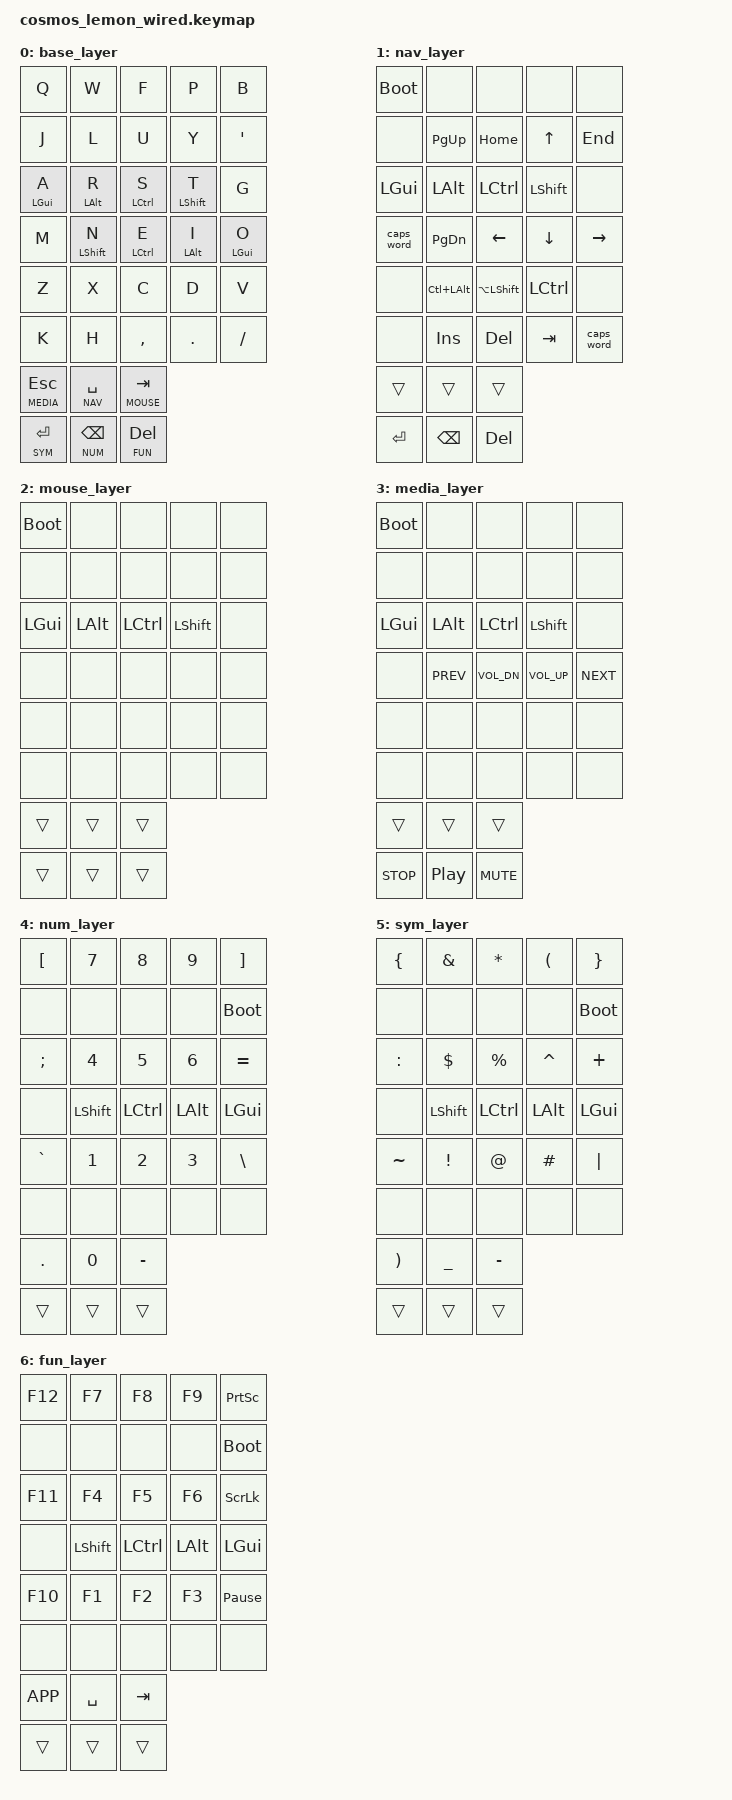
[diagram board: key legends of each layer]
/*
 * Copyright (c) 2026 The ZMK Contributors
 * SPDX-License-Identifier: MIT
 *
 * Miryoku COLEMAK-DH keymap for the 36-key Cosmos Lemon Wired.
 *
 * Key positions (see cosmos_lemon_wired.dtsi transform):
 *   0–4   left top    (Q W F P B)
 *   5–9   right top   (J L U Y ')
 *   10–14 left home   (A R S T G, with HRMs)
 *   15–19 right home  (M N E I O, with HRMs)
 *   20–24 left bottom (Z X C D V)
 *   25–29 right bottom(K H , . /)
 *   30–32 left thumbs (outer→inner: ESC SPC TAB)
 *   33–35 right thumbs(inner→outer: RET BSPC DEL)
 *
 * Home-row mods (GACS / SCAG, both using left modifier keycodes):
 *   Left : LGUI A  LALT R  LCTRL S  LSHFT T   G
 *   Right: M       LSHFT N LCTRL E  LALT I    LGUI O
 */

#include <behaviors.dtsi>
#include <dt-bindings/zmk/keys.h>

#define BASE  0
#define NAV   1
#define MOUSE 2
#define MEDIA 3
#define NUM   4
#define SYM   5
#define FUN   6

/ {
    keymap {
        compatible = "zmk,keymap";

        base_layer {
            bindings = <
                &kp Q        &kp W        &kp F        &kp P        &kp B
                &kp J        &kp L        &kp U        &kp Y        &kp SQT
                &mt LGUI A   &mt LALT R   &mt LCTRL S  &mt LSHFT T  &kp G
                &kp M        &mt LSHFT N  &mt LCTRL E  &mt LALT I   &mt LGUI O
                &kp Z        &kp X        &kp C        &kp D        &kp V
                &kp K        &kp H        &kp COMMA    &kp DOT      &kp FSLH
                &lt MEDIA ESC  &lt NAV SPACE  &lt MOUSE TAB
                &lt SYM RET    &lt NUM BSPC   &lt FUN DEL
            >;
        };

        nav_layer {
            bindings = <
                &bootloader  &none        &none        &none        &none
                &none        &kp PG_UP    &kp HOME     &kp UP       &kp END
                &kp LGUI     &kp LALT     &kp LCTRL    &kp LSHFT    &none
                &caps_word   &kp PG_DN    &kp LEFT     &kp DOWN     &kp RIGHT
                &none        &kp LC(LALT) &kp LA(LSHFT) &kp LCTRL  &none
                &none        &kp INS      &kp DEL      &kp TAB      &caps_word
                &trans       &trans       &trans
                &kp RET      &kp BSPC     &kp DEL
            >;
        };

        mouse_layer {
            bindings = <
                &bootloader  &none        &none        &none        &none
                &none        &none        &none        &none        &none
                &kp LGUI     &kp LALT     &kp LCTRL    &kp LSHFT    &none
                &none        &none        &none        &none        &none
                &none        &none        &none        &none        &none
                &none        &none        &none        &none        &none
                &trans       &trans       &trans
                &trans       &trans       &trans
            >;
        };

        media_layer {
            bindings = <
                &bootloader  &none        &none        &none        &none
                &none        &none        &none        &none        &none
                &kp LGUI     &kp LALT     &kp LCTRL    &kp LSHFT    &none
                &none        &kp C_PREV   &kp C_VOL_DN &kp C_VOL_UP &kp C_NEXT
                &none        &none        &none        &none        &none
                &none        &none        &none        &none        &none
                &trans       &trans       &trans
                &kp C_STOP   &kp C_PP     &kp C_MUTE
            >;
        };

        num_layer {
            bindings = <
                &kp LBKT     &kp N7       &kp N8       &kp N9       &kp RBKT
                &none        &none        &none        &none        &bootloader
                &kp SEMI     &kp N4       &kp N5       &kp N6       &kp EQUAL
                &none        &kp LSHFT    &kp LCTRL    &kp LALT     &kp LGUI
                &kp GRAVE    &kp N1       &kp N2       &kp N3       &kp BSLH
                &none        &none        &none        &none        &none
                &kp DOT      &kp N0       &kp MINUS
                &trans       &trans       &trans
            >;
        };

        sym_layer {
            bindings = <
                &kp LBRC     &kp AMPS     &kp ASTRK    &kp LPAR     &kp RBRC
                &none        &none        &none        &none        &bootloader
                &kp COLON    &kp DLLR     &kp PRCNT    &kp CARET    &kp PLUS
                &none        &kp LSHFT    &kp LCTRL    &kp LALT     &kp LGUI
                &kp TILDE    &kp EXCL     &kp AT       &kp HASH     &kp PIPE
                &none        &none        &none        &none        &none
                &kp RPAR     &kp UNDER    &kp MINUS
                &trans       &trans       &trans
            >;
        };

        fun_layer {
            bindings = <
                &kp F12      &kp F7       &kp F8       &kp F9       &kp PSCRN
                &none        &none        &none        &none        &bootloader
                &kp F11      &kp F4       &kp F5       &kp F6       &kp SLCK
                &none        &kp LSHFT    &kp LCTRL    &kp LALT     &kp LGUI
                &kp F10      &kp F1       &kp F2       &kp F3       &kp PAUSE_BREAK
                &none        &none        &none        &none        &none
                &kp K_APP    &kp SPACE    &kp TAB
                &trans       &trans       &trans
            >;
        };
    };
};
